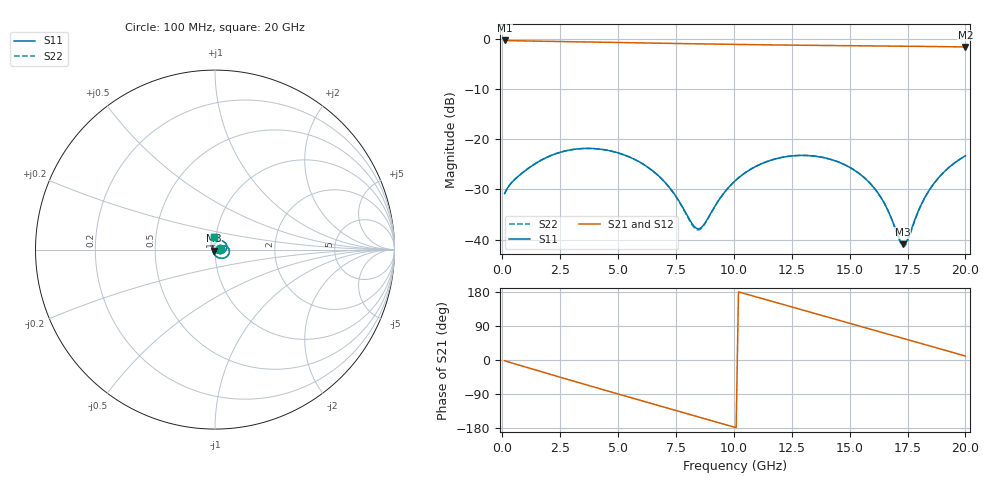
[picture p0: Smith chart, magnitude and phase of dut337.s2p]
! Touchstone file exported from HFSS 2026.1.0
!  File:  C:/ffzhzh/LocalFiles/Ansys_Project_Files/temp_train_TSV_RDL_337_1783034020_4048.aedt
!  Generated:  07:27:09 AM Jul  3, 2026
!  Design:  TSV_RDL
!  Project:  temp_train_TSV_RDL_337_1783034020_4048
! Variables:
!  h_bsmrdl = 5.97um
!  h_ox = 20um
!  h_rdl = 5um
!  h_sub = 88.01um
!  h_tmrdl = 5.75um
!  h_tsv = 88.01um
!  h_via = 3um
!  l_bsmrdl = 957.74um
!  l_sub = 5885.5um
!  l_tmrdl = 634.38um
!  m_sub = 200um
!  pitch = 18.63um
!  r_tsv = 7.13um
!  s_tmrdl = 10um
!  w_bsmrdl = 12.81um
!  w_sub = 500um
!  w_tmrdl = 12.11um
!  x_tsv_center1 = 640.435um
!  x_tsv_center2 = 1610.985um
!  x_tsv_center3 = 2257.475um
!  x_tsv_center4 = 3228.025um
!  x_tsv_center5 = 3874.515um
!  x_tsv_center6 = 4845.065um
# GHz S MA R 50.000000
! Terminal data exported
! Port[1] = TM_RDL1_1_T1
! Port[2] = TM_RDL5_1_T1
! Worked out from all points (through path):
!   200 points, 100 MHz to 20 GHz, reference 50 ohm
!   highest |S21| = -0.25 dB at 100 MHz (marker M1); lowest = -1.5 dB at 20 GHz (marker M2)
!   group delay of S21, straight-line fit = 48.3 ps
!   lowest |S11| = -41.0 dB at 17.3 GHz (marker M3), VSWR 1.02, Z = 49.4 - j0.668 ohm
!   |S11| at or under -10 dB: start of sweep to end of sweep
!   |S22| runs from -41.3 to -21.8 dB; largest |S21 - S12| = 1.6e-14
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0.1  0.02875 10.0  0.9719 -2.0  0.9719 -2.0  0.02875 10.0
! Gamma 0 0 0 0
! Port Impedance 50 0 50 0
0.5  0.03907 19.5  0.9655 -9.4  0.9655 -9.4  0.03907 19.5
1.6  0.06056 18.5  0.9566 -29.3  0.9566 -29.3  0.06055 18.5
3.5  0.08106 -8.7  0.9392 -63.2  0.9392 -63.2  0.08101 -8.7
5.1  0.0721 -38.1  0.9256 -91.4  0.9256 -91.4  0.07199 -37.9
6.8  0.04218 -75.3  0.9121 -121.2  0.9121 -121.2  0.04199 -75.1
7.5  0.027 -98.2  0.9066 -133.4  0.9066 -133.4  0.02675 -97.8
8.2  0.01435 -145.0  0.9011 -145.6  0.9011 -145.6  0.014 -145.0
8.5  0.0128 178.8  0.8988 -150.8  0.8988 -150.8  0.01249 177.9
10.1  0.03936 83.7  0.8867 -178.5  0.8867 -178.5  0.03944 83.2
11.7  0.06288 48.2  0.8763 153.9  0.8763 153.9  0.06302 48.0
13.4  0.0683 15.8  0.8681 124.7  0.8681 124.7  0.06846 15.6
14.4  0.06074 -3.4  0.8643 107.5  0.8643 107.5  0.0609 -3.4
15.4  0.04579 -23.9  0.8606 90.2  0.8606 90.2  0.04592 -23.8
16.1  0.03179 -41.2  0.8579 78.0  0.8579 78.0  0.03186 -40.9
16.7  0.01854 -64.1  0.8553 67.6  0.8553 67.6  0.01851 -63.3
17.3  0.00892 -130.8  0.8525 57.2  0.8525 57.2  0.008579 -130.0
17.5  0.009974 -166.4  0.8514 53.8  0.8514 53.8  0.009599 -167.0
18  0.02009 148.3  0.8488 45.1  0.8488 45.1  0.01984 147.1
18.5  0.0327 129.2  0.8459 36.4  0.8459 36.4  0.03252 128.3
19.2  0.05031 111.6  0.8418 24.3  0.8418 24.3  0.0502 110.9
20  0.06851 95.3  0.8371 10.5  0.8371 10.5  0.06847 94.6
